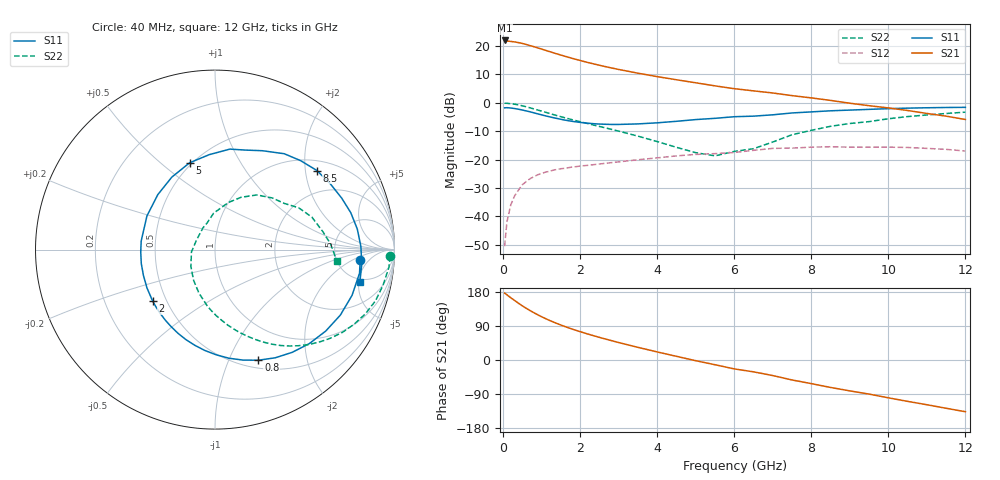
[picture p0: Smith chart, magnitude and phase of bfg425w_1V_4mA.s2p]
! Filename: 14bfg425.001
! BFG425W Field C1
! V1=8.281E-001V,V2=1.000E+000V, I1=5.607E-005A, I2=4.000E-003A
# GHz  S  MA  R 50
!  S11  S21  S12  S22
!Freq(GHz)  Mag  Ang  Mag  Ang  Mag  Ang  Mag  Ang
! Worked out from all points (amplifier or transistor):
!   44 points, 40 MHz to 12 GHz, reference 50 ohm
!   highest |S21| = 21.9 dB at 40 MHz (marker M1)
!   |S21| within 3 dB of that: start of sweep to 991.9 MHz
!   unconditionally stable (mu >= 1): 2.584 GHz to end of sweep
!   at 700 MHz: K = 0.29, MSG = 23.4 dB, |S12| = -26.7 dB
!   at 2.4 GHz: K = 0.94, MSG = 17.6 dB, |S12| = -21.7 dB
!   at 12 GHz: K = 1.54, MAG = 1.2 dB, |S12| = -17.0 dB
!   S11 on the Smith chart (normalised r, x): 40 MHz: 8.55, -2.95; 800 MHz: 0.59, -1.29; 2 GHz: 0.42, -0.30; 5 GHz: 0.49, +0.63; 8.5 GHz: 1.27, +2.32; 12 GHz: 4.49, -5.17
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0.04  0.811 -4.2  12.39 176.5  0.003 84.7  0.977 -2.2
0.1  0.816 -9.3  12.14 172.1  0.008 85.1  0.974 -5.8
0.2  0.805 -18.5  11.92 164.2  0.016 78.6  0.957 -11.9
0.3  0.788 -27.6  11.69 157.1  0.023 73.1  0.939 -17.6
0.4  0.766 -36.3  11.36 149.8  0.029 68.0  0.911 -23.2
0.5  0.742 -44.9  10.98 142.9  0.036 63.3  0.88 -28.2
0.6  0.716 -53.1  10.53 136.5  0.041 58.9  0.847 -32.9
0.8  0.662 -68.6  9.62 124.7  0.05 51.0  0.776 -41.6
1.1  0.586 -89.4  8.319 109.3  0.06 41.9  0.678 -52.4
1.4  0.527 -107.9  7.194 96.3  0.067 35.0  0.592 -61.3
1.7  0.481 -125.1  6.268 84.9  0.072 29.9  0.521 -68.9
2  0.45 -140.7  5.508 74.8  0.077 25.8  0.462 -75.8
2.2  0.435 -150.6  5.083 68.6  0.079 23.5  0.428 -80.2
2.6  0.418 -169.3  4.383 56.9  0.085 19.5  0.368 -89.0
3  0.414 173.4  3.833 46.1  0.091 15.6  0.316 -97.9
3.5  0.423 153.7  3.296 33.4  0.099 10.8  0.258 -110.4
4.5  0.47 120.8  2.527 9.7  0.116 0.1  0.164 -144.9
5  0.504 106.3  2.235 -1.9  0.123 -6.9  0.132 -174.0
6.5  0.579 73.3  1.611 -31.3  0.145 -21.4  0.155 106.5
8.5  0.719 37.7  1.095 -72.4  0.168 -55.1  0.384 52.5
10.5  0.801 8.2  0.728 -109.2  0.163 -88.2  0.569 18.6
12  0.827 -12.7  0.506 -136.5  0.141 -117.1  0.681 -5.4
